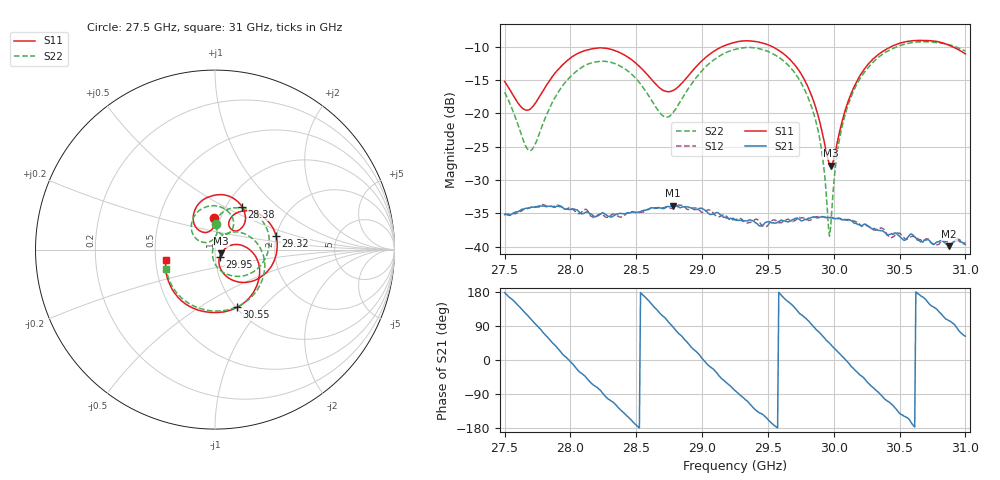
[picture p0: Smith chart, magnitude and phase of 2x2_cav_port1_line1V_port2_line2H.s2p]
!Created with skrf (http://scikit-rf.org).
# GHz S RI R 50.0
!freq ReS11 ImS11 ReS21 ImS21 ReS12 ImS12 ReS22 ImS22
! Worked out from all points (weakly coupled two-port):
!   401 points, 27.5 GHz to 31 GHz, reference 50 ohm
!   highest |S21| = -33.85 dB at 28.78 GHz (marker M1); lowest = -39.9 dB at 30.88 GHz (marker M2)
!   lowest |S11| = -27.9 dB at 29.98 GHz (marker M3), VSWR 1.08, Z = 53.5 - j2.32 ohm
!   |S11| at or under -10 dB: start of sweep to 29.16 GHz; 29.53 GHz to 30.44 GHz (907.8 MHz wide, 3.03 % of centre); 30.89736 GHz to end of sweep
!   |S22| runs from -38.4 to -9.3 dB; largest |S21 - S12| = 0.0015
!   S11 on the Smith chart (normalised r, x): 27.5 GHz: 0.94, +0.33; 28.38 GHz: 1.18, +0.61; 29.32 GHz: 1.99, +0.35; 29.95 GHz: 1.05, -0.08; 30.55 GHz: 1.01, -0.74; 31 GHz: 0.57, -0.07
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27.5  -0.00324 0.1734  -0.0174 0.000679  -0.0175 0.000401  0.00728 0.1434
27.70125  -0.0524 0.0954  -0.00594 0.0188  -0.00598 0.0189  -0.0278 0.0447
27.9025  -0.1217 0.1715  0.0171 0.0105  0.0176 0.0105  -0.1182 0.0772
28.08625  -0.057 0.2833  0.0143 -0.0103  0.0153 -0.0099  -0.1137 0.1893
28.38375  0.1508 0.2384  -0.012 -0.013  -0.0114 -0.0122  0.0737 0.2116
28.6725  0.117 0.1037  -0.0116 0.0158  -0.0117 0.0157  0.0589 0.0847
28.7775  0.0827 0.1225  0.000751 0.0203  0.00019 0.0196  0.0176 0.099
29.0225  0.1475 0.2135  0.0187 -0.00155  0.0183 -0.000277  0.0515 0.2144
29.25  0.3103 0.1392  0.00258 -0.0157  0.00314 -0.0157  0.2292 0.1951
29.32  0.3398 0.0781  -0.0031 -0.0153  -0.00362 -0.015  0.2743 0.1445
29.635  0.2049 -0.1767  -0.0145 0.0055  -0.0149 0.00528  0.1989 -0.1318
29.83625  0.0415 -0.1251  -0.000661 0.0166  -0.000997 0.0161  0.0198 -0.1065
29.90625  0.0217 -0.0733  0.00659 0.0154  0.00667 0.0154  -0.0103 -0.0531
29.95  0.0262 -0.0398  0.0106 0.0127  0.0104 0.0127  -0.014 -0.014
29.97625  0.0342 -0.0216  0.0124 0.011  0.0124 0.011  -0.0102 0.00941
30.0375  0.0665 0.013  0.0153 0.00533  0.0154 0.0055  0.0157 0.0569
30.11625  0.1246 0.0284  0.0157 -0.00257  0.0157 -0.00231  0.0764 0.0934
30.4225  0.2295 -0.2087  -0.00453 -0.0115  -0.00494 -0.0106  0.2766 -0.1083
30.55375  0.123 -0.3217  -0.01 -0.00552  -0.0102 -0.00491  0.2082 -0.2585
30.71125  -0.0749 -0.3421  -0.0101 0.00499  -0.0102 0.00512  0.0163 -0.3424
30.8775  -0.2439 -0.2113  -0.00233 0.00981  -0.002 0.0104  -0.196 -0.26
31  -0.2724 -0.0558  0.00477 0.00923  0.00459 0.00974  -0.2719 -0.108
